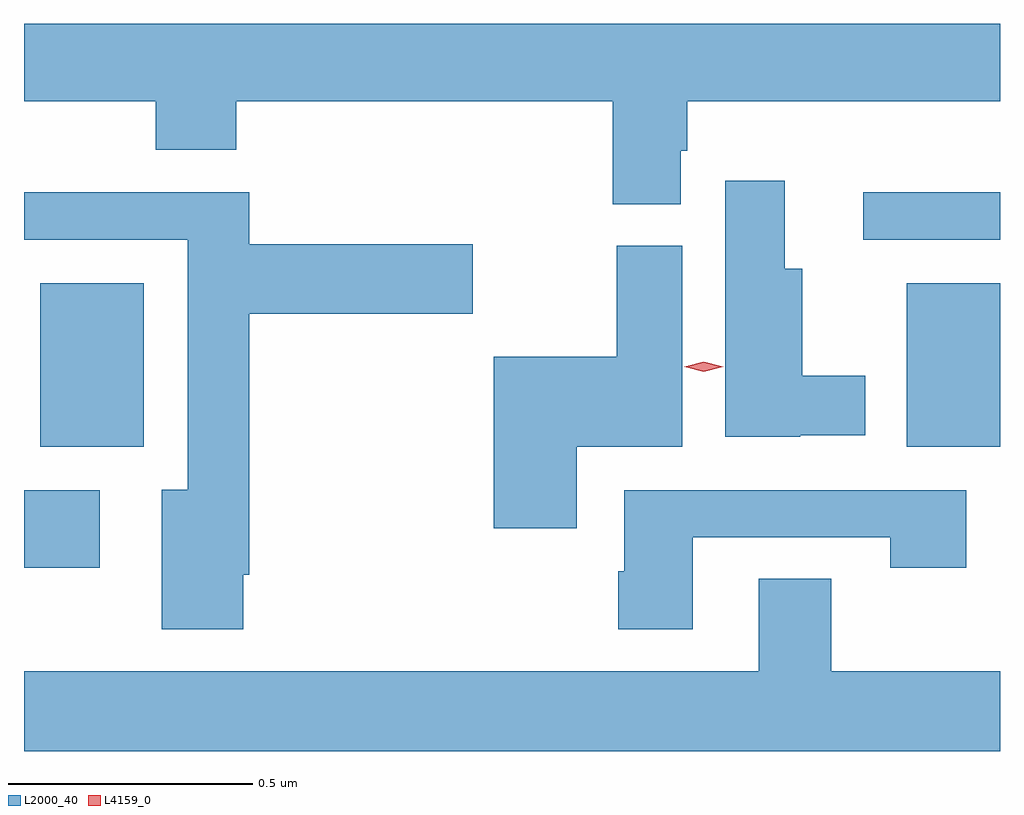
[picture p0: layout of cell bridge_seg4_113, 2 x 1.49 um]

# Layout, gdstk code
import gdstk
lib = gdstk.Library(unit=1e-6, precision=1e-09)
def R(c, l, rs):  # rectangles x0, y0, x1, y1
    for r in rs: c.add(gdstk.rectangle(r[:2], r[2:], *l))
def P(c, l, *ps):  # polygons
    for p in ps: c.add(gdstk.Polygon(p, *l))
L2000_40 = (2000, 40)
L4159_0 = (4159, 0)

bridge_seg4_113 = lib.new_cell('bridge_seg4_113')
R(bridge_seg4_113, L2000_40, [(623.687,755.904,623.842,756.063), (623.72,756.152,623.932,756.487), (625.496,756.152,625.687,756.487), (625.407,756.576,625.687,756.674)])
P(bridge_seg4_113, L2000_40, [(625.033,756.759),(625.046,756.759),(625.046,756.86),(625.687,756.86),(625.687,757.019),(623.687,757.019),(623.687,756.86),(623.957,756.86),(623.957,756.761),(624.122,756.761),(624.122,756.86),(624.893,756.86),(624.893,756.649),(625.033,756.649)],
  [(625.278,756.176),(625.411,756.176),(625.411,756.298),(625.282,756.298),(625.282,756.517),(625.246,756.517),(625.246,756.697),(625.124,756.697),(625.124,756.173),(625.278,756.173)],
  [(624.136,755.89),(624.149,755.89),(624.149,756.425),(624.607,756.425),(624.607,756.567),(624.149,756.567),(624.149,756.674),(623.687,756.674),(623.687,756.576),(624.023,756.576),(624.023,756.064),(623.969,756.064),(623.969,755.778),(624.136,755.778)],
  [(624.82,756.152),(625.036,756.152),(625.036,756.564),(624.902,756.564),(624.902,756.337),(624.65,756.337),(624.65,755.985),(624.82,755.985)],
  [(625.057,755.967),(625.462,755.967),(625.462,755.904),(625.618,755.904),(625.618,756.063),(624.917,756.063),(624.917,755.897),(624.905,755.897),(624.905,755.778),(625.057,755.778)],
  [(625.687,755.692),(625.341,755.692),(625.341,755.882),(625.193,755.882),(625.193,755.692),(623.687,755.692),(623.687,755.528),(625.687,755.528)])
P(bridge_seg4_113, L4159_0, [(625.08,756.306),(625.04,756.316),(625.04,756.316),(625.04,756.316),(625.08,756.326),(625.12,756.316),(625.12,756.316),(625.12,756.316)])

lib.write_gds('bridge_seg4_113.gds')
